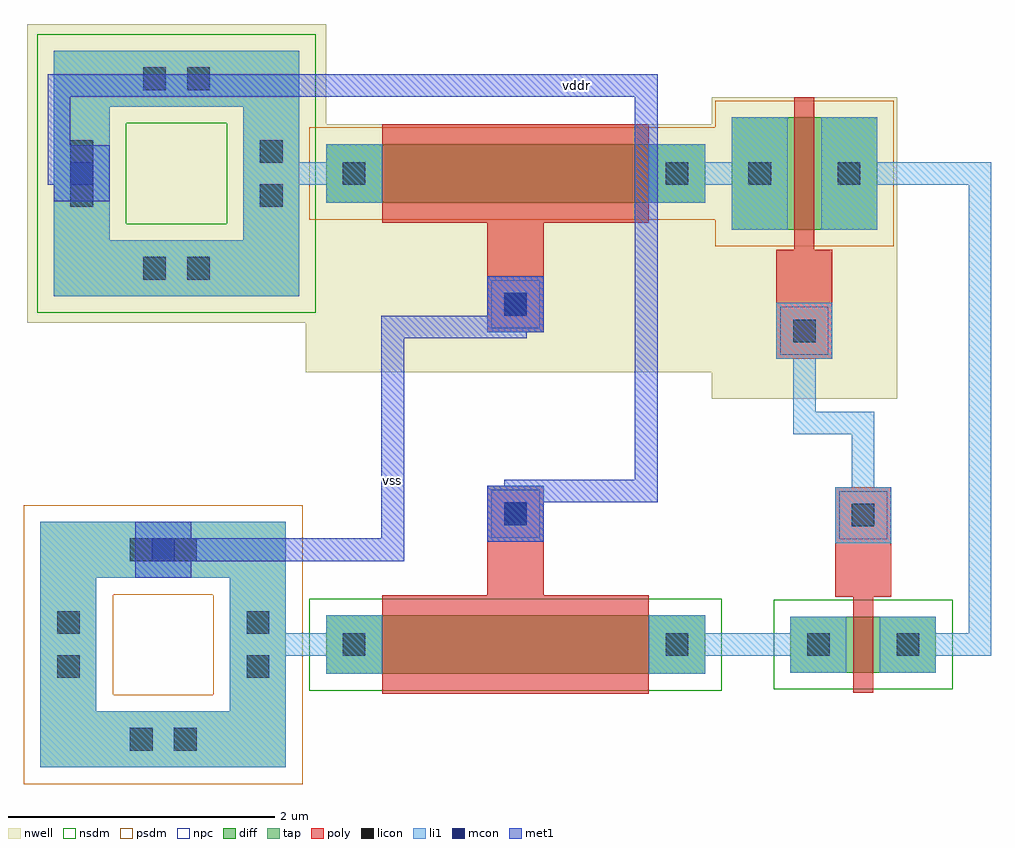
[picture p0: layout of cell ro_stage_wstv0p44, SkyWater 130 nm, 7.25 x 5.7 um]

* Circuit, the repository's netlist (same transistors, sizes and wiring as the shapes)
* extracted by klt extract --deck sky130

* cell ro_stage_wstv0p44
* pin a
* pin mnt_g,vddr
* pin mph_g,vss
* pin ny
* pin py
* pin y
.SUBCKT ro_stage_wstv0p44 a mnt_g|vddr mph_g|vss ny py y
* device instance $1 r0 *1 4.025,0.21 nfet
M$1 y a ny mph_g|vss nfet L=0.15U W=0.42U AS=0.1974P AD=0.1974P PS=1.78U
+ PD=1.78U
* device instance $2 r0 *1 1.42,0.21 nfet
M$2 ny mnt_g|vddr mph_g|vss mph_g|vss nfet L=2U W=0.44U AS=0.1848P AD=0.1848P
+ PS=1.72U PD=1.72U
* device instance $3 r0 *1 1.42,3.74 pfet
M$3 py mph_g|vss mnt_g|vddr mnt_g|vddr pfet L=2U W=0.44U AS=0.1848P AD=0.1848P
+ PS=1.72U PD=1.72U
* device instance $4 r0 *1 3.585,3.74 pfet
M$4 y a py mnt_g|vddr pfet L=0.15U W=0.84U AS=0.3948P AD=0.3948P PS=2.62U
+ PD=2.62U
.ENDS ro_stage_wstv0p44

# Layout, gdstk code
import gdstk
lib = gdstk.Library(unit=1e-6, precision=1e-09)
def R(c, l, rs):  # rectangles x0, y0, x1, y1
    for r in rs: c.add(gdstk.rectangle(r[:2], r[2:], *l))
def P(c, l, *ps):  # polygons
    for p in ps: c.add(gdstk.Polygon(p, *l))
nwell = (64, 20)
diff = (65, 20)
tap = (65, 44)
poly = (66, 20)
licon = (66, 44)
li1 = (67, 20)
mcon = (67, 44)
met1 = (68, 20)
nsdm = (93, 44)
psdm = (94, 20)
npc = (95, 20)

mos_array_3 = lib.new_cell('mos_array$3')
R(mos_array_3, nwell, [(-0.15,-0.15,1.24,2.11)])
R(mos_array_3, diff, [(0,0,1.09,0.84)])
R(mos_array_3, poly, [(0.47,-0.15,0.62,0.84), (0.47,0.84,0.62,0.99), (0.47,0.84,0.62,0.99), (0.335,0.99,0.755,1.81)])
R(mos_array_3, licon, [(0.125,0.335,0.295,0.505), (0.795,0.335,0.965,0.505), (0.46,1.515,0.63,1.685)])
R(mos_array_3, li1, [(0,0,0.42,0.84), (0.67,0,1.09,0.84), (0.335,1.39,0.755,1.81)])
R(mos_array_3, psdm, [(-0.125,-0.125,1.215,0.965)])
R(mos_array_3, npc, [(0.365,1.42,0.725,1.78)])

mp__mp = lib.new_cell('mp__mp')
mp__mp.add(gdstk.Reference(mos_array_3, (0,0)))

guard_ring_1 = lib.new_cell('guard_ring$1')
R(guard_ring_1, nwell, [(-0.2,-0.2,2.04,2.04)])
P(guard_ring_1, tap, [(0,0),(0,1.42),(0.42,1.42),(0.42,0.42),(1.42,0.42),(1.42,1.42),(0,1.42),(0,1.84),(1.84,1.84),(1.84,0)])
R(guard_ring_1, licon, [(0.67,0.125,0.84,0.295), (1,0.125,1.17,0.295), (0.125,0.67,0.295,0.84), (1.545,0.67,1.715,0.84), (0.125,1,0.295,1.17), (1.545,1,1.715,1.17), (0.67,1.545,0.84,1.715), (1,1.545,1.17,1.715)])
P(guard_ring_1, li1, [(0,0),(0,1.42),(0.42,1.42),(0.42,0.42),(1.42,0.42),(1.42,1.42),(0,1.42),(0,1.84),(1.84,1.84),(1.84,0)])
P(guard_ring_1, nsdm, [(-0.125,-0.125),(-0.125,1.295),(0.545,1.295),(0.545,0.545),(1.295,0.545),(1.295,1.295),(-0.125,1.295),(-0.125,1.965),(1.965,1.965),(1.965,-0.125)])

nwell_tap__nwell_tap = lib.new_cell('nwell_tap__nwell_tap')
nwell_tap__nwell_tap.add(gdstk.Reference(guard_ring_1, (0,0)))

mos_array_2 = lib.new_cell('mos_array$2')
R(mos_array_2, nwell, [(-0.15,-0.15,2.99,1.71)])
R(mos_array_2, diff, [(0,0,2.84,0.44)])
R(mos_array_2, poly, [(0.42,-0.15,2.42,0.44), (0.42,0.44,2.42,0.59), (0.42,0.44,2.42,0.59), (1.21,0.59,1.63,1.41)])
R(mos_array_2, licon, [(0.125,0.135,0.295,0.305), (2.545,0.135,2.715,0.305), (1.335,1.115,1.505,1.285)])
R(mos_array_2, li1, [(0,0,0.42,0.44), (2.42,0,2.84,0.44), (1.21,0.99,1.63,1.41)])
R(mos_array_2, psdm, [(-0.125,-0.125,2.965,0.565)])
R(mos_array_2, npc, [(1.24,1.02,1.6,1.38)])

mph__mph = lib.new_cell('mph__mph')
mph__mph.add(gdstk.Reference(mos_array_2, (0,0)))

mos_array_1 = lib.new_cell('mos_array$1')
R(mos_array_1, diff, [(0,0,1.09,0.42)])
R(mos_array_1, poly, [(0.47,-0.15,0.62,0.42), (0.47,0.42,0.62,0.57), (0.47,0.42,0.62,0.57), (0.335,0.57,0.755,1.39)])
R(mos_array_1, licon, [(0.125,0.125,0.295,0.295), (0.795,0.125,0.965,0.295), (0.46,1.095,0.63,1.265)])
R(mos_array_1, li1, [(0,0,0.42,0.42), (0.67,0,1.09,0.42), (0.335,0.97,0.755,1.39)])
R(mos_array_1, nsdm, [(-0.125,-0.125,1.215,0.545)])
R(mos_array_1, npc, [(0.365,1,0.725,1.36)])

mn__mn = lib.new_cell('mn__mn')
mn__mn.add(gdstk.Reference(mos_array_1, (0,0)))

guard_ring = lib.new_cell('guard_ring')
P(guard_ring, tap, [(0,0),(0,1.42),(0.42,1.42),(0.42,0.42),(1.42,0.42),(1.42,1.42),(0,1.42),(0,1.84),(1.84,1.84),(1.84,0)])
R(guard_ring, licon, [(0.67,0.125,0.84,0.295), (1,0.125,1.17,0.295), (0.125,0.67,0.295,0.84), (1.545,0.67,1.715,0.84), (0.125,1,0.295,1.17), (1.545,1,1.715,1.17), (0.67,1.545,0.84,1.715), (1,1.545,1.17,1.715)])
P(guard_ring, li1, [(0,0),(0,1.42),(0.42,1.42),(0.42,0.42),(1.42,0.42),(1.42,1.42),(0,1.42),(0,1.84),(1.84,1.84),(1.84,0)])
P(guard_ring, psdm, [(-0.125,-0.125),(-0.125,1.295),(0.545,1.295),(0.545,0.545),(1.295,0.545),(1.295,1.295),(-0.125,1.295),(-0.125,1.965),(1.965,1.965),(1.965,-0.125)])

psub_tap__psub_tap = lib.new_cell('psub_tap__psub_tap')
psub_tap__psub_tap.add(gdstk.Reference(guard_ring, (0,0)))

mos_array = lib.new_cell('mos_array')
R(mos_array, diff, [(0,0,2.84,0.44)])
R(mos_array, poly, [(0.42,-0.15,2.42,0.44), (0.42,0.44,2.42,0.59), (0.42,0.44,2.42,0.59), (1.21,0.59,1.63,1.41)])
R(mos_array, licon, [(0.125,0.135,0.295,0.305), (2.545,0.135,2.715,0.305), (1.335,1.115,1.505,1.285)])
R(mos_array, li1, [(0,0,0.42,0.44), (2.42,0,2.84,0.44), (1.21,0.99,1.63,1.41)])
R(mos_array, nsdm, [(-0.125,-0.125,2.965,0.565)])
R(mos_array, npc, [(1.24,1.02,1.6,1.38)])

mnt__mnt = lib.new_cell('mnt__mnt')
mnt__mnt.add(gdstk.Reference(mos_array, (0,0)))

core__core = lib.new_cell('core__core')
R(core__core, li1, [(3.815,1.18,4.235,1.35), (3.375,2.39,3.795,2.56)])
core__core.add(gdstk.FlexPath([(3.585,2.56),(3.585,1.87),(4.025,1.87),(4.025,1.18)], 0.17, ends="flush", simple_path=True, layer=67, datatype=20))  # li1
core__core.add(gdstk.FlexPath([(3.92,3.74),(4.9,3.74),(4.9,0.21),(4.36,0.21)], 0.17, ends="flush", simple_path=True, layer=67, datatype=20))  # li1
core__core.add(gdstk.FlexPath([(2.63,3.74),(3.25,3.74)], 0.17, ends="flush", simple_path=True, layer=67, datatype=20))  # li1
core__core.add(gdstk.FlexPath([(2.63,0.21),(3.69,0.21)], 0.17, ends="flush", simple_path=True, layer=67, datatype=20))  # li1
core__core.add(gdstk.FlexPath([(0.21,3.74),(-0.41,3.74)], 0.17, ends="flush", simple_path=True, layer=67, datatype=20))  # li1
core__core.add(gdstk.FlexPath([(0.21,0.21),(-0.51,0.21)], 0.17, ends="flush", simple_path=True, layer=67, datatype=20))  # li1
core__core.add(gdstk.Reference(mp__mp, (3.04,4.16), x_reflection=True))
core__core.add(gdstk.Reference(nwell_tap__nwell_tap, (-2.04,2.82)))
core__core.add(gdstk.Reference(mph__mph, (0,3.96), x_reflection=True))
core__core.add(gdstk.Reference(mn__mn, (3.48,0)))
core__core.add(gdstk.Reference(psub_tap__psub_tap, (-2.14,-0.71)))
core__core.add(gdstk.Reference(mnt__mnt, (0,-0.01)))
core__core.add(gdstk.Label('a', (3.805,1.87), layer=67, texttype=5))
core__core.add(gdstk.Label('y', (4.9,2.195), layer=67, texttype=5))
core__core.add(gdstk.Label('py', (2.94,3.74), layer=67, texttype=5))
core__core.add(gdstk.Label('ny', (3.16,0.21), layer=67, texttype=5))
core__core.add(gdstk.Label('vddr', (-0.1,3.74), layer=67, texttype=5))
core__core.add(gdstk.Label('vss', (-0.15,0.21), layer=67, texttype=5))
core__core.add(gdstk.Label('vddr', (-1.83,3.74), layer=67, texttype=5))
core__core.add(gdstk.Label('vss', (-1.22,0.92), layer=67, texttype=5))
core__core.add(gdstk.Label('mph_g', (1.42,2.76), layer=67, texttype=5))
core__core.add(gdstk.Label('mnt_g', (1.42,1.19), layer=67, texttype=5))

ro_stage_wstv0p44 = lib.new_cell('ro_stage_wstv0p44')
R(ro_stage_wstv0p44, li1, [(-1.43,0.71,-1.01,1.13), (1.21,0.98,1.63,1.4), (1.21,2.55,1.63,2.97), (-2.04,3.53,-1.62,3.95)])
R(ro_stage_wstv0p44, mcon, [(-1.305,0.835,-1.135,1.005), (1.335,1.105,1.505,1.275), (1.335,2.675,1.505,2.845), (-1.915,3.655,-1.745,3.825)])
R(ro_stage_wstv0p44, met1, [(-1.43,0.71,-1.01,1.13), (1.21,0.98,1.63,1.4), (1.21,2.55,1.63,2.97), (-2.04,3.53,-1.62,3.95)])
ro_stage_wstv0p44.add(gdstk.FlexPath([(1.42,2.76),(1.42,2.59),(0.5,2.59),(0.5,0.92),(-1.22,0.92),(-1.22,0.92)], 0.17, ends="flush", simple_path=True, layer=68, datatype=20))  # met1
ro_stage_wstv0p44.add(gdstk.FlexPath([(1.42,1.19),(1.42,1.36),(2.4,1.36),(2.4,4.4),(-2,4.4),(-2,3.74),(-1.83,3.74)], 0.17, ends="flush", simple_path=True, layer=68, datatype=20))  # met1
ro_stage_wstv0p44.add(gdstk.Reference(core__core, (0,0)))
ro_stage_wstv0p44.add(gdstk.Label('vss', (0.5,1.44), layer=68, texttype=5))
ro_stage_wstv0p44.add(gdstk.Label('vddr', (1.88,4.4), layer=68, texttype=5))

lib.write_gds('ro_stage_wstv0p44.gds')
